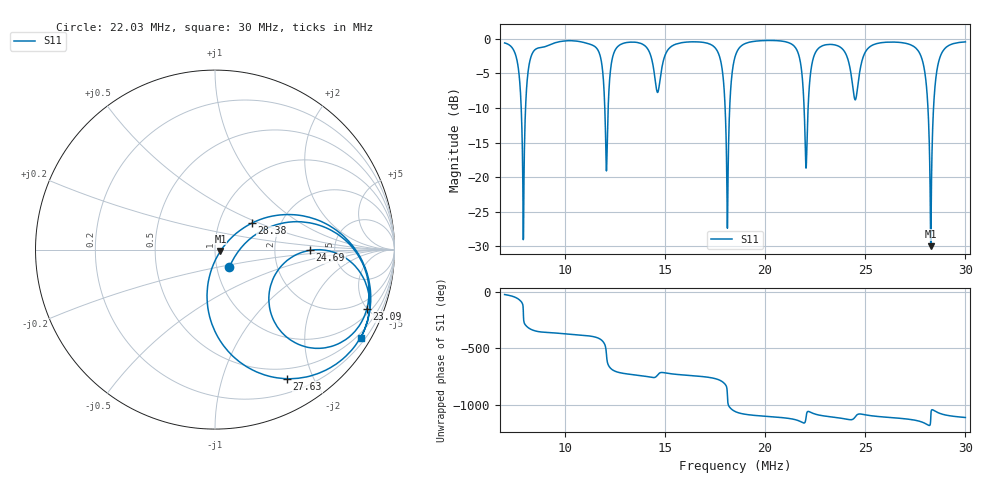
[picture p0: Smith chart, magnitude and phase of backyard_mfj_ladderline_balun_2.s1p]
! Touchstone file generated by AntScope2
# MHz Z RI R 50
! Format: Frequency Z-real Z-imaginary (normalized to 50 Ohm)
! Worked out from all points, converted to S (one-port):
!   2001 points, 7 MHz to 30 MHz, reference 50 ohm
!   lowest |S11| = -30.0 dB at 28.27 MHz (marker M1), VSWR 1.07, Z = 53.1 - j0.86 ohm
!   |S11| at or under -10 dB: 7.829 MHz to 8.046 MHz (216.6 kHz wide, 2.73 % of centre); 18.01 MHz to 18.23 MHz (226.9 kHz wide, 1.25 % of centre); 28.13 MHz to 28.41 MHz (278.4 kHz wide, 0.985 % of centre)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
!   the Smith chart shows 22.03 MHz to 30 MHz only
!   S11 on the Smith chart (normalised r, x): 22.03 MHz: 1.15, -0.23; 23.09 MHz: 1.32, -4.99; 24.69 MHz: 3.25, -0.03; 27.63 MHz: 0.37, -1.64; 28.38 MHz: 1.43, +0.45; 30 MHz: 0.35, -3.53
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7  0.8736 -4.863
7.6325  0.7532 -1.604
7.9085  0.9154 -0.1564
8.3455  1.914 3.126
9.875  3.926 -13.42
11.7495  0.569 -1.774
12.0485  0.7602 -0.1868
12.2785  1.229 1.568
12.75  10.28 9.795
14.1645  1.166 -3.27
14.59  2.004 -0.8746
15.625  4.117 -9.206
17.7065  0.5322 -1.651
18.1205  0.921 0.022
18.5  2.541 3.143
21.375  0.3308 -2.368
22.0305  1.151 -0.2286
22.4675  7.614 0.3276
23.0885  1.325 -4.989
24.25  1.05 -1.554
24.687  3.251 -0.0348
25.354  2.144 -5.895
27.125  0.2744 -2.351
27.631  0.367 -1.642
28.275  1.063 -0.0172
28.3785  1.429 0.4474
28.735  6.253 1.547
30  0.3468 -3.527
